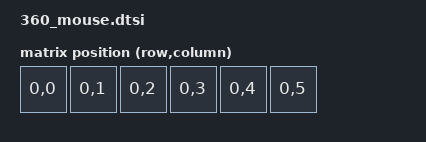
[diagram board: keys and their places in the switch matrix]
/*
 * 360 Mouse - parts shared by every PCB revision.
 * Pins, sensor orientation and per-copy tuning live in the variant overlays.
 */

#include <zephyr/dt-bindings/input/input-event-codes.h>
#include <zephyr/dt-bindings/gpio/nordic-nrf-gpio.h>
#include <dt-bindings/zmk/matrix_transform.h>
#include <physical_layouts.dtsi>

/ {
    chosen {
        zmk,kscan = &kscan0;
        zmk,matrix_transform = &default_transform;
        zmk,physical-layout = &default_layout;
        zmk,battery = &vbatt;
        zephyr,boot-mode = &boot_retention;
        zmk,magic-boot-mode = &adafruit_boot_retention;
    };

    /* input-gpios set per variant; order = key positions 0..5:
       left, middle, right, MB4, MB5, space */
    kscan0: kscan {
        compatible = "zmk,kscan-gpio-direct";
        debounce-press-ms = <5>;
        debounce-release-ms = <5>;
    };

    default_transform: keymap_transform_0 {
        compatible = "zmk,matrix-transform";
        columns = <6>;
        rows = <1>;
        map = <RC(0,0) RC(0,1) RC(0,2) RC(0,3) RC(0,4) RC(0,5)>;
    };

    default_layout: default_layout {
        compatible = "zmk,physical-layout";
        display-name = "360 Mouse";
        transform = <&default_transform>;
        keys  //                     w    h    x    y   rot   rx   ry
            = <&key_physical_attrs 100  100    0    0     0    0    0>
            , <&key_physical_attrs 100  100  100    0     0    0    0>
            , <&key_physical_attrs 100  100  200    0     0    0    0>
            , <&key_physical_attrs 100  100  300    0     0    0    0>
            , <&key_physical_attrs 100  100  400    0     0    0    0>
            , <&key_physical_attrs 100  100  500    0     0    0    0>;
    };

    /* the trackball node itself is defined in each variant (pins differ) */
    trackball_listener {
        compatible = "zmk,input-listener";
        device = <&trackball>;
    };

#include <dt-bindings/zmk/keys.h>   /* after the matrix map: keys.h redefines RC() */

    /* io-channels, mv-mid and invert set per variant via &x_ch / &y_ch */
    anin0: analog_input_0 {
        compatible = "zmk,analog-input";
        sampling-hz = <250>;
        /* Pot supply from P0.09 (D10), high only while sampling. Every
           variant uses the same pin. A mouse whose pots are still on 3.3 V
           just toggles an unconnected pin - harmless. */
        power-gpios = <&gpio0 9 (GPIO_ACTIVE_HIGH | NRF_GPIO_DRIVE_H0H1)>;
        mv-top = <3200>;           /* re-measure on a gated mouse, see README */
        game-layer = <2>;          /* joystick sends WASD while layer 2 is on */
        x_ch: x-ch {
            mv-min-max = <1450>;
            mv-deadzone = <200>;
            scale-multiplier = <1>;
            scale-divisor = <30000>;
            input-code = <INPUT_REL_HWHEEL>;
            evt-type = <INPUT_EV_REL>;
            game-key-pos = <D>;    /* same direction as scrolling right */
            game-key-neg = <A>;
        };
        y_ch: y-ch {
            mv-min-max = <1400>;
            mv-deadzone = <200>;
            scale-multiplier = <1>;
            scale-divisor = <30000>;
            input-code = <INPUT_REL_WHEEL>;
            evt-type = <INPUT_EV_REL>;
            game-key-pos = <W>;    /* same direction as scrolling up */
            game-key-neg = <S>;
        };
    };

    anin0_listener: anin0_listener {
        compatible = "zmk,input-listener";
        device = <&anin0>;
    };

    vbatt: vbatt {
        compatible = "zmk,battery-nrf-vddh";
    };

    magic_mapper {
        compatible = "zmk,bootmode-to-magic-mapper";
        status = "okay";
        #address-cells = <1>;
        #size-cells = <1>;
        boot_retention: retention@0 {
            compatible = "zephyr,retention";
            status = "okay";
            reg = <0x0 0x1>;
        };
    };

    /* gpios set per variant */
    led_indicator: led_indicator {
        compatible = "zmk,led-indicator";
        indicate-layer = <1>;
        blink-layers = <2 3>;      /* into game: 2 blinks, into RMB lock: 3; out: 1 */
        activity-device = <&trackball>;
        activity-hold-ms = <60>;
    };
};

&adc {
    status = "okay";
};

&gpregret1 {
    adafruit_boot_retention: retention@0 {
        compatible = "zephyr,retention";
        status = "okay";
        reg = <0x0 0x1>;
    };
};
